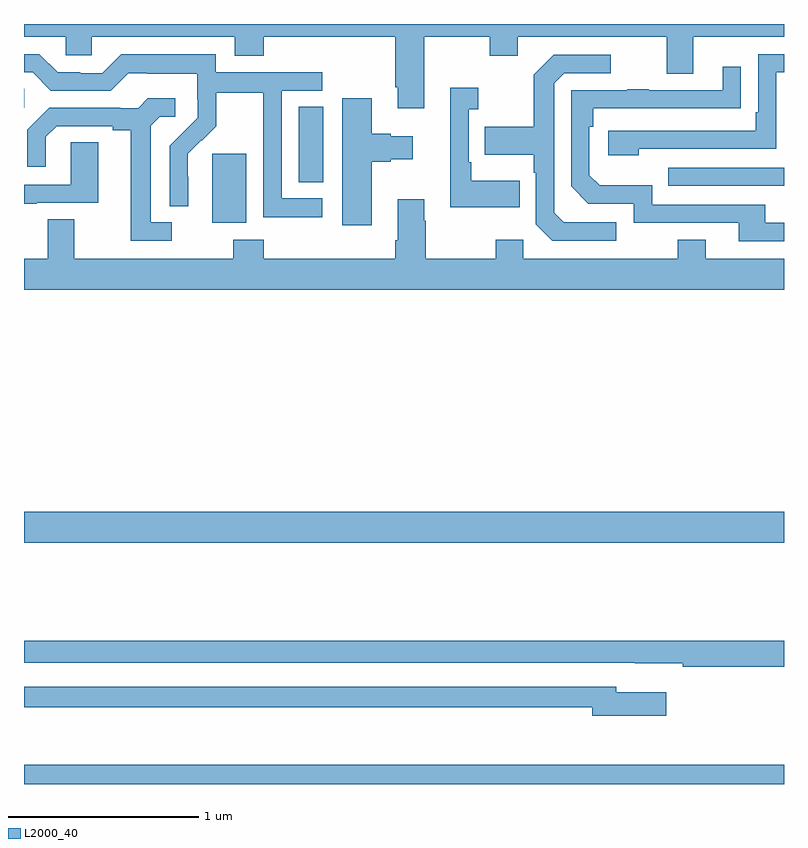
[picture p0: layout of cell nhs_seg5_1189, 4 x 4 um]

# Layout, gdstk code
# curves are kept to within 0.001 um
import gdstk
lib = gdstk.Library(unit=1e-6, precision=1e-09)
def R(c, l, rs):  # rectangles x0, y0, x1, y1
    for r in rs: c.add(gdstk.rectangle(r[:2], r[2:], *l))
def P(c, l, *ps):  # polygons
    for p in ps: c.add(gdstk.Polygon(p, *l))
L2000_40 = (2000, 40)

nhs_seg5_1189 = lib.new_cell('nhs_seg5_1189')
R(nhs_seg5_1189, L2000_40, [(183,880.799,187,880.9), (183,882.068,187,882.232), (183.992,883.754,184.171,884.115), (186.391,883.947,187,884.043), (184.445,883.966,184.576,884.363), (183,884.358,183.001,884.459)])
P(nhs_seg5_1189, L2000_40, [(183,884.732),(183.219,884.732),(183.219,884.634),(183.357,884.634),(183.357,884.732),(184.109,884.732),(184.109,884.633),(184.262,884.633),(184.262,884.732),(184.955,884.732),(184.955,884.467),(184.967,884.467),(184.967,884.355),(185.107,884.355),(185.107,884.732),(185.452,884.732),(185.452,884.633),(185.599,884.633),(185.599,884.732),(186.383,884.732),(186.383,884.538),(186.523,884.538),(186.523,884.732),(187,884.732),(187,884.799),(183,884.799)],
  [(184.57,883.881),(184.356,883.881),(184.356,884.448),(184.57,884.448),(184.57,884.544),(184.008,884.544),(184.008,884.641),(183.511,884.641),(183.411,884.541),(183.296,884.541),(183.296,884.544),(183.177,884.544),(183.081,884.64),(183,884.64),(183,884.544),(183.045,884.544),(183.141,884.448),(183.456,884.448),(183.549,884.541),(183.649,884.541),(183.649,884.537),(183.912,884.537),(183.912,884.403),(183.914,884.403),(183.914,884.306),(183.768,884.158),(183.768,883.84),(183.864,883.84),(183.863,884.117),(183.933,884.187),(183.936,884.184),(184.013,884.261),(184.013,884.436),(184.258,884.436),(184.258,884.212),(184.26,884.212),(184.26,883.783),(184.57,883.783)],
  [(186.236,884.142),(186.96,884.142),(186.96,884.544),(187,884.544),(187,884.64),(186.864,884.64),(186.864,884.335),(186.851,884.335),(186.851,884.238),(186.075,884.238),(186.075,884.108),(186.236,884.108)],
  [(186.118,883.755),(185.841,883.755),(185.79,883.806),(185.79,884.487),(185.844,884.541),(186.088,884.541),(186.088,884.637),(185.787,884.637),(185.682,884.531),(185.682,884.259),(185.425,884.259),(185.425,884.111),(185.682,884.111),(185.682,884.015),(185.694,884.015),(185.694,883.746),(185.781,883.659),(186.118,883.659)],
  [(187,883.752),(186.901,883.752),(186.901,883.848),(186.306,883.848),(186.306,883.951),(186.029,883.951),(185.976,884.004),(185.976,884.258),(185.996,884.258),(185.996,884.355),(186.773,884.356),(186.773,884.575),(186.677,884.575),(186.677,884.451),(186.287,884.451),(186.287,884.456),(186.175,884.456),(186.175,884.451),(185.88,884.451),(185.88,883.944),(185.97,883.854),(186.21,883.854),(186.21,883.752),(186.761,883.752),(186.761,883.656),(187,883.656)],
  [(185.609,883.975),(185.353,883.975),(185.353,884.071),(185.34,884.071),(185.34,884.351),(185.392,884.351),(185.392,884.464),(185.243,884.464),(185.243,883.835),(185.609,883.835)],
  [(183.778,883.755),(183.667,883.755),(183.667,884.263),(183.714,884.31),(183.796,884.31),(183.796,884.407),(183.652,884.407),(183.6,884.355),(183.506,884.355),(183.506,884.358),(183.134,884.358),(183.018,884.242),(183.018,884.049),(183.115,884.049),(183.115,884.205),(183.172,884.262),(183.467,884.262),(183.467,884.24),(183.563,884.24),(183.563,883.659),(183.778,883.659)],
  [(184.831,884.075),(184.931,884.075),(184.931,884.087),(185.047,884.087),(185.047,884.209),(184.931,884.209),(184.931,884.222),(184.831,884.222),(184.831,884.407),(184.676,884.407),(184.676,883.74),(184.831,883.74)],
  [(183.067,883.857),(183.391,883.857),(183.391,884.177),(183.246,884.177),(183.246,883.953),(183,883.953),(183,883.853),(183.067,883.853)],
  [(187,883.564),(186.589,883.564),(186.589,883.663),(186.442,883.663),(186.442,883.564),(185.628,883.564),(185.628,883.663),(185.482,883.663),(185.482,883.564),(185.115,883.564),(185.115,883.763),(185.107,883.763),(185.107,883.876),(184.967,883.876),(184.967,883.66),(184.955,883.66),(184.955,883.564),(184.262,883.564),(184.262,883.663),(184.102,883.663),(184.102,883.564),(183.265,883.564),(183.265,883.772),(183.125,883.772),(183.125,883.564),(183,883.564),(183,883.4),(187,883.4)],
  [(187,881.552),(183,881.552),(183,881.436),(186.214,881.436),(186.214,881.435),(186.466,881.435),(186.466,881.416),(187,881.416)],
  [(186.379,881.281),(186.118,881.281),(186.118,881.31),(183,881.31),(183,881.202),(185.99,881.202),(185.99,881.159),(186.379,881.159)])

lib.write_gds('nhs_seg5_1189.gds')
